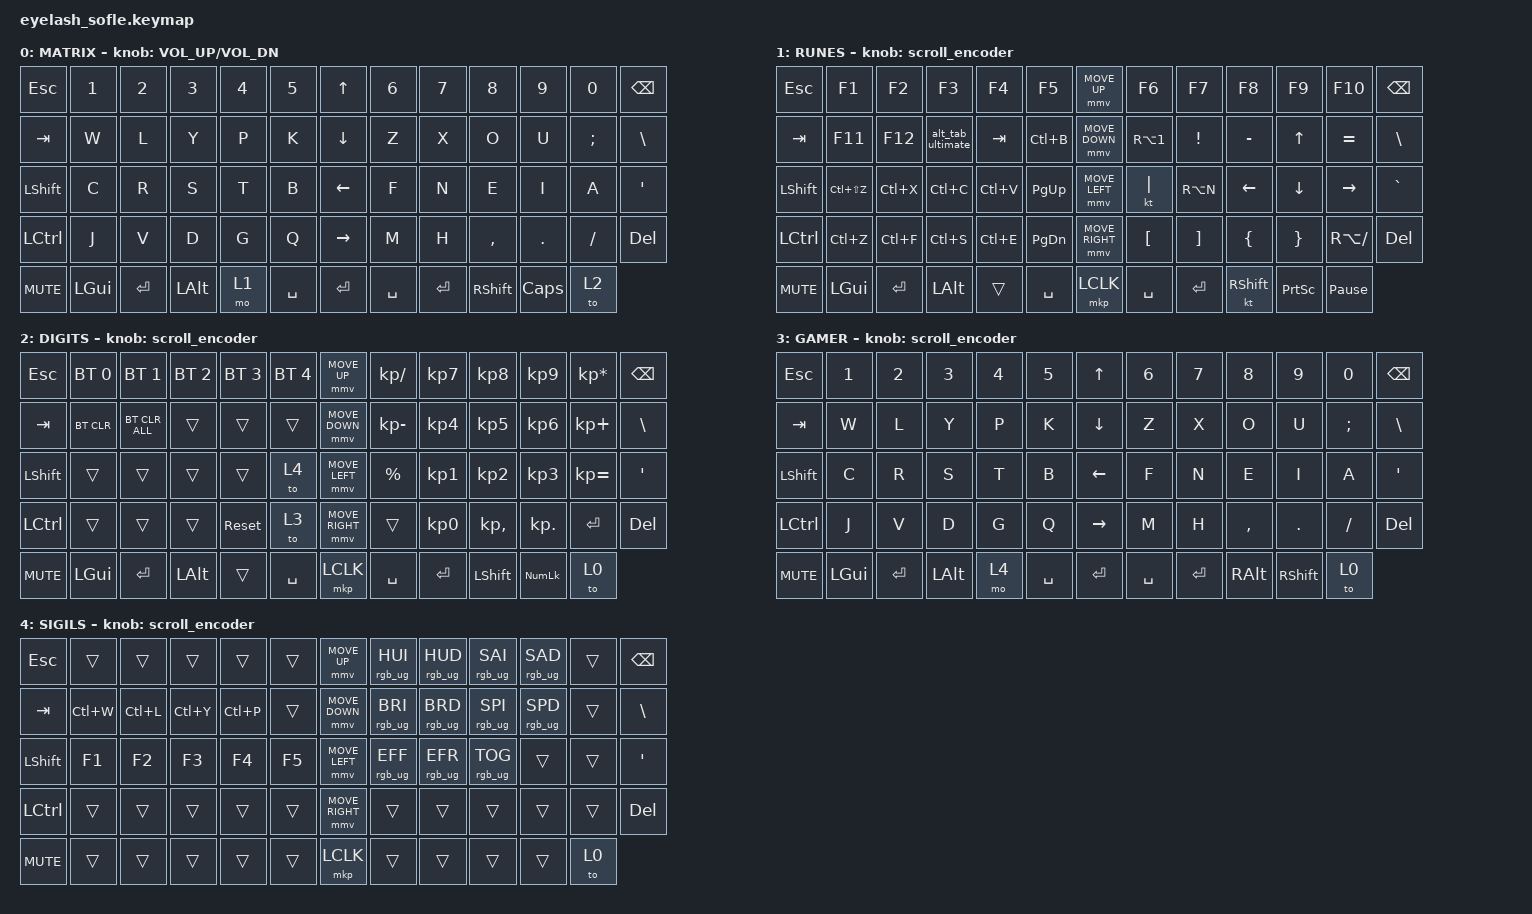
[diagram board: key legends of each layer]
#define ZMK_POINTING_DEFAULT_MOVE_VAL 1200  // 600
#define ZMK_POINTING_DEFAULT_SCRL_VAL 35    // 10

#include <input/processors.dtsi>
#include <zephyr/dt-bindings/input/input-event-codes.h>
#include <behaviors.dtsi>
#include <dt-bindings/zmk/bt.h>
#include <dt-bindings/zmk/keys.h>
#include <dt-bindings/zmk/pointing.h>
#include <dt-bindings/zmk/rgb.h>

/ {
    zip_scroll_scaler: zip_scroll_scaler {
        compatible = "zmk,input-processor-scaler";
        #input-processor-cells = <2>;
        type = <INPUT_EV_REL>;
        codes = <INPUT_REL_WHEEL INPUT_REL_HWHEEL>;
        track-remainders;
    };
};

&mmv_input_listener { input-processors = <&zip_xy_scaler 2 1>; };

&msc_input_listener { input-processors = <&zip_scroll_scaler 2 1>; };

&msc {
    acceleration-exponent = <0>;      // 0
    time-to-max-speed-ms = <0>;       // 300
    delay-ms = <0>;                   // 0
};

&mmv {
    time-to-max-speed-ms = <400>;
    acceleration-exponent = <1>;
};

/ {
    scroll_encoder: scroll_encoder {
        compatible = "zmk,behavior-sensor-rotate";
        #sensor-binding-cells = <0>;
        bindings = <&msc SCRL_DOWN>, <&msc SCRL_UP>;

        tap-ms = <30>;
    };

    macros {
        shift_MB3: shift_MB3 {
            compatible = "zmk,behavior-macro";
            #binding-cells = <0>;
            bindings =
                <&macro_press>,
                <&kp LEFT_SHIFT>,
                <&macro_press>,
                <&mkp MB3>,
                <&macro_pause_for_release>,
                <&macro_release>,
                <&mkp MB3 &kp LEFT_SHIFT>;

            label = "SHIFT_MB3";
        };

        alt_tab_ultimate: alt_tab_ultimate {
            compatible = "zmk,behavior-macro";
            #binding-cells = <0>;
            bindings =
                <&macro_press>,
                <&kp LALT>,
                <&macro_tap>,
                <&kp TAB>,
                <&macro_pause_for_release>,
                <&macro_release>,
                <&kp LALT>;
        };
    };

    behaviors {
    };

    keymap {
        compatible = "zmk,keymap";

        layer0 {
            bindings = <
&kp ESC           &kp N1        &kp N2     &kp N3        &kp N4  &kp N5       &kp UP_ARROW     &kp N6     &kp N7     &kp N8           &kp N9        &kp N0     &kp BACKSPACE
&kp TAB           &kp W         &kp L      &kp Y         &kp P   &kp K        &kp DOWN_ARROW   &kp Z      &kp X      &kp O            &kp U         &kp SEMI   &kp BSLH
&kp LSHFT         &kp C         &kp R      &kp S         &kp T   &kp B        &kp LEFT_ARROW   &kp F      &kp N      &kp E            &kp I         &kp A      &kp APOS
&kp LEFT_CONTROL  &kp J         &kp V      &kp D         &kp G   &kp Q        &kp RIGHT_ARROW  &kp M      &kp H      &kp COMMA        &kp DOT       &kp SLASH  &kp DEL
&kp C_MUTE        &kp LEFT_GUI  &kp ENTER  &kp LEFT_ALT  &mo 1   &kp SPACE    &kp ENTER        &kp SPACE  &kp ENTER  &kp RIGHT_SHIFT  &kp CAPSLOCK  &to 2
            >;

            sensor-bindings = <&inc_dec_kp C_VOLUME_UP C_VOL_DN>;
            display-name = "MATRIX";
        };

        layer_1 {
            bindings = <
&kp ESC           &kp F1         &kp F2     &kp F3             &kp F4     &kp F5           &mmv MOVE_UP     &kp F6            &kp F7           &kp F8           &kp F9           &kp F10          &kp BACKSPACE
&kp TAB           &kp F11        &kp F12    &alt_tab_ultimate  &kp TAB    &kp LC(B)        &mmv MOVE_DOWN   &kp RA(NUMBER_1)  &kp EXCLAMATION  &kp MINUS        &kp UP_ARROW     &kp EQUAL        &kp BSLH
&kp LSHFT         &kp LC(LS(Z))  &kp LC(X)  &kp LC(C)          &kp LC(V)  &kp PAGE_UP      &mmv MOVE_LEFT   &kt PIPE          &kp RA(N)        &kp LEFT_ARROW   &kp DOWN_ARROW   &kp RIGHT_ARROW  &kp GRAVE
&kp LEFT_CONTROL  &kp LC(Z)      &kp LC(F)  &kp LC(S)          &kp LC(E)  &kp PAGE_DOWN    &mmv MOVE_RIGHT  &kp LBKT          &kp RBKT         &kp LEFT_BRACE   &kp RIGHT_BRACE  &kp RA(SLASH)    &kp DELETE
&kp C_MUTE        &kp LEFT_GUI   &kp ENTER  &kp LEFT_ALT       &trans     &kp SPACE        &mkp LCLK        &kp SPACE         &kp ENTER        &kt RIGHT_SHIFT  &kp PRINTSCREEN  &kp PAUSE_BREAK
            >;

            display-name = "RUNES";
            sensor-bindings = <&scroll_encoder>;
        };

        layer_2 {
            bindings = <
&kp ESC           &bt BT_SEL 0  &bt BT_SEL 1    &bt BT_SEL 2  &bt BT_SEL 3  &bt BT_SEL 4    &mmv MOVE_UP     &kp KP_SLASH  &kp KP_NUMBER_7  &kp KP_NUMBER_8  &kp KP_NUMBER_9  &kp KP_MULTIPLY  &kp BACKSPACE
&kp TAB           &bt BT_CLR    &bt BT_CLR_ALL  &trans        &trans        &trans          &mmv MOVE_DOWN   &kp KP_MINUS  &kp KP_NUMBER_4  &kp KP_NUMBER_5  &kp KP_NUMBER_6  &kp KP_PLUS      &kp BSLH
&kp LSHFT         &trans        &trans          &trans        &trans        &to 4           &mmv MOVE_LEFT   &kp PRCNT     &kp KP_NUMBER_1  &kp KP_NUMBER_2  &kp KP_NUMBER_3  &kp KP_EQUAL     &kp APOS
&kp LEFT_CONTROL  &trans        &trans          &trans        &sys_reset    &to 3           &mmv MOVE_RIGHT  &trans        &kp KP_NUMBER_0  &kp KP_COMMA     &kp KP_DOT       &kp ENTER        &kp DELETE
&kp C_MUTE        &kp LEFT_GUI  &kp ENTER       &kp LEFT_ALT  &trans        &kp SPACE       &mkp LCLK        &kp SPACE     &kp ENTER        &kp LEFT_SHIFT   &kp KP_NUM       &to 0
            >;

            display-name = "DIGITS";
            sensor-bindings = <&scroll_encoder>;
        };

        layer_3 {
            bindings = <
&kp ESC     &kp N1        &kp N2     &kp N3        &kp N4  &kp N5       &kp UP_ARROW     &kp N6     &kp N7     &kp N8         &kp N9           &kp N0     &kp BACKSPACE
&kp TAB     &kp W         &kp L      &kp Y         &kp P   &kp K        &kp DOWN_ARROW   &kp Z      &kp X      &kp O          &kp U            &kp SEMI   &kp BSLH
&kp LSHFT   &kp C         &kp R      &kp S         &kp T   &kp B        &kp LEFT_ARROW   &kp F      &kp N      &kp E          &kp I            &kp A      &kp APOS
&kp LCTRL   &kp J         &kp V      &kp D         &kp G   &kp Q        &kp RIGHT_ARROW  &kp M      &kp H      &kp COMMA      &kp DOT          &kp SLASH  &kp DELETE
&kp C_MUTE  &kp LEFT_GUI  &kp ENTER  &kp LEFT_ALT  &mo 4   &kp SPACE    &kp ENTER        &kp SPACE  &kp ENTER  &kp RIGHT_ALT  &kp RIGHT_SHIFT  &to 0
            >;

            display-name = "GAMER";
            sensor-bindings = <&scroll_encoder>;
        };

        layer_4 {
            bindings = <
&kp ESC     &trans     &trans     &trans     &trans     &trans    &mmv MOVE_UP     &rgb_ug RGB_HUI  &rgb_ug RGB_HUD  &rgb_ug RGB_SAI  &rgb_ug RGB_SAD  &trans  &kp BACKSPACE
&kp TAB     &kp LC(W)  &kp LC(L)  &kp LC(Y)  &kp LC(P)  &trans    &mmv MOVE_DOWN   &rgb_ug RGB_BRI  &rgb_ug RGB_BRD  &rgb_ug RGB_SPI  &rgb_ug RGB_SPD  &trans  &kp BSLH
&kp LSHFT   &kp F1     &kp F2     &kp F3     &kp F4     &kp F5    &mmv MOVE_LEFT   &rgb_ug RGB_EFF  &rgb_ug RGB_EFR  &rgb_ug RGB_TOG  &trans           &trans  &kp APOS
&kp LCTRL   &trans     &trans     &trans     &trans     &trans    &mmv MOVE_RIGHT  &trans           &trans           &trans           &trans           &trans  &kp DELETE
&kp C_MUTE  &trans     &trans     &trans     &trans     &trans    &mkp LCLK        &trans           &trans           &trans           &trans           &to 0
            >;

            display-name = "SIGILS";
            sensor-bindings = <&scroll_encoder>;
        };
    };
};
